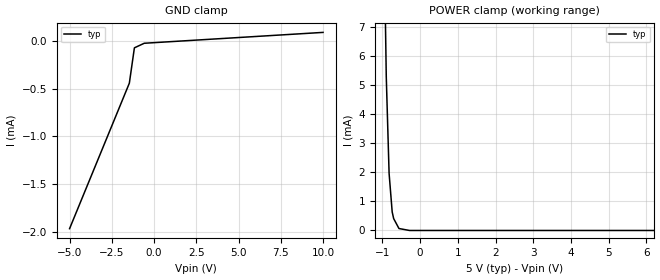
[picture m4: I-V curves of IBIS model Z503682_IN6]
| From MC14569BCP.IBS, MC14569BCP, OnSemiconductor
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| (C) COPYRIGHT 1993-2000
| MENTOR GRAPHICS CORPORATION
| ICX STANDARD LIBRARY, ICX PROJECT MODELING,
| ICX CUSTOM MODELING, ICX VENDOR MODEL
| ALL RIGHTS RESERVED.
| THE FOLLOWING ARE TRADEMARKS OR SERVICE MARKS OF
| MENTOR GRAPHICS CORPORATION:ICX (R), ICX STANDARD
| LIBRARY(R), ICX PROJECT MODELING(R), ICX CUSTOM
| MODELING(R), qualityIBIS(TM), MODELVIEWER(TM),
| AND MODELEDITOR(TM)
| ALL COPIES OF SOFTWARE, INCLUDING BUT NOT LIMITED TO
| ANY MODIFICATIONS, ENHANCEMENTS OR DERIVATIVE WORKS,
| MUST CONTAIN ALL MENTOR GRAPHICS CORPORATION'S
| NOTICES AND LEGENDS, INCLUDING THOSE EMBEDDED IN
| SOFTWARE AND THOSE AFFIXED TO SOFTWARE MEDIUM
| AND CONTAINER, AS RECEIVED FROM MENTOR GRAPHICS
| CORPORATION.
| Model Application Version 1.89 2/18/99.
[Model] Z503682_IN6
Model_type Input
Vinl = 1.500V
Vinh = 3.500V
C_comp 5.000pF NA NA
| variable typ   min   max
[Voltage Range] 5.000V NA NA
[GND Clamp Reference] 0.000V NA NA
[POWER Clamp Reference] 5.000V NA NA
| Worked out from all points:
|   POWER clamp passes 1 mA (typ) near -0.76 V on its own axis
[GND Clamp]
-5V       -1.969mA   NA         NA
-1.463V   -441.8uA   NA         NA
-1.164V   -70.71uA   NA         NA
-582mV    -22.66uA   NA         NA
10V       91.4uA     NA         NA
[POWER Clamp]
-5V       651.1mA    NA         NA
-1.206V   39.29mA    NA         NA
-1.03V    16.33mA    NA         NA
-899mV    5.277mA    NA         NA
-824mV    1.959mA    NA         NA
-742mV    635.2uA    NA         NA
-703mV    407.7uA    NA         NA
-562mV    67.03uA    NA         NA
-281mV    0A         NA         NA
10V       0A         NA         NA
